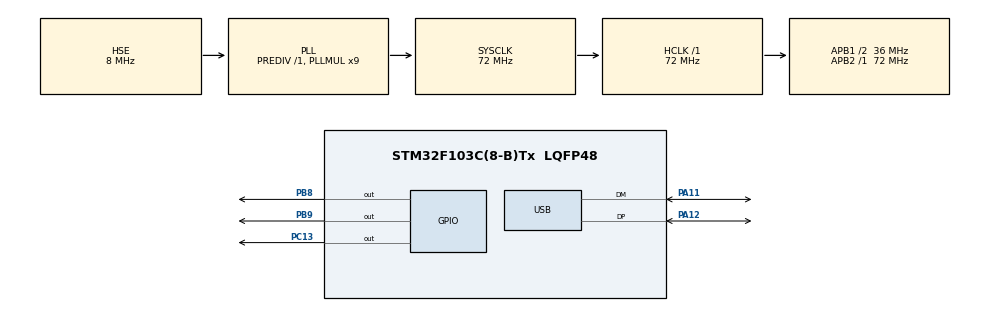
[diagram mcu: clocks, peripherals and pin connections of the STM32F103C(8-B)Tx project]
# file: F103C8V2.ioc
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FREERTOS.Tasks01=defaultTask,0,128,StartDefaultTask,Default,NULL,Dynamic,NULL,NULL;scanTask,0,128,StartScanTask,Default,NULL,Dynamic,NULL,NULL
IWDG.Prescaler=IWDG_PRESCALER_16
Mcu.Family=STM32F1
Mcu.Name=STM32F103C(8-B)Tx
Mcu.Package=LQFP48
NVIC.PriorityGroup=NVIC_PRIORITYGROUP_4
NVIC.TIM1_UP_IRQn=true\:0\:0\:false\:false\:true\:false\:false
NVIC.TimeBase=TIM1_UP_IRQn
NVIC.TimeBaseIP=TIM1
NVIC.USB_LP_CAN1_RX0_IRQn=true\:5\:0\:false\:false\:true\:true\:false
PA11.Mode=Device
PA11.Signal=USB_DM
PA12.Mode=Device
PA12.Signal=USB_DP
PA13.Mode=Serial_Wire
PA13.Signal=SYS_JTMS-SWDIO
PA14.Mode=Serial_Wire
PA14.Signal=SYS_JTCK-SWCLK
PB8.GPIO_Speed=GPIO_SPEED_FREQ_LOW
PB8.Signal=GPIO_Output
PB9.GPIO_Speed=GPIO_SPEED_FREQ_LOW
PB9.Signal=GPIO_Output
PC13-TAMPER-RTC.GPIO_Speed=GPIO_SPEED_FREQ_LOW
PC13-TAMPER-RTC.PinState=GPIO_PIN_SET
PC13-TAMPER-RTC.Signal=GPIO_Output
PC14-OSC32_IN.Mode=LSE-External-Oscillator
PC14-OSC32_IN.Signal=RCC_OSC32_IN
PC15-OSC32_OUT.Mode=LSE-External-Oscillator
PC15-OSC32_OUT.Signal=RCC_OSC32_OUT
PD0-OSC_IN.Mode=HSE-External-Oscillator
PD0-OSC_IN.Signal=RCC_OSC_IN
PD1-OSC_OUT.Mode=HSE-External-Oscillator
PD1-OSC_OUT.Signal=RCC_OSC_OUT
ProjectManager.HeapSize=0x200
ProjectManager.StackSize=0x400
ProjectManager.TargetToolchain=EWARM V7
RCC.AHBFreq_Value=72000000
RCC.APB1CLKDivider=RCC_HCLK_DIV2
RCC.APB1Freq_Value=36000000
RCC.APB1TimFreq_Value=72000000
RCC.APB2Freq_Value=72000000
RCC.APB2TimFreq_Value=72000000
RCC.HCLKFreq_Value=72000000
RCC.PLLMUL=RCC_PLL_MUL9
RCC.SYSCLKFreq_VALUE=72000000
RCC.SYSCLKSource=RCC_SYSCLKSOURCE_PLLCLK
RCC.USBFreq_Value=48000000
RCC.USBPrescaler=RCC_USBCLKSOURCE_PLL_DIV1_5
TIM4.AutoReloadPreload=TIM_AUTORELOAD_PRELOAD_DISABLE
TIM4.CounterMode=TIM_COUNTERMODE_UP
TIM4.Period=65535
TIM4.Prescaler=71
USB_DEVICE.CLASS_NAME_FS=CDC
USB_DEVICE.VirtualMode=Cdc
USB_DEVICE.VirtualModeFS=Cdc_FS
VP_FREERTOS_VS_ENABLE.Mode=Enabled
VP_IWDG_VS_IWDG.Mode=IWDG_Activate
VP_SYS_VS_tim1.Mode=TIM1
VP_TIM4_VS_ClockSourceINT.Mode=Internal
VP_USB_DEVICE_VS_USB_DEVICE_CDC_FS.Mode=CDC_FS
board=custom

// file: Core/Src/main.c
/**
  ******************************************************************************
  * @file           : main.c
  * @brief          : Main program body
  ******************************************************************************
  * This notice applies to any and all portions of this file
  * that are not between comment pairs USER CODE BEGIN and
  * USER CODE END. Other portions of this file, whether
  * inserted by the user or by software development tools
  * are owned by their respective copyright owners.
  *
  * Copyright (c) 2019 STMicroelectronics International N.V.
  * All rights reserved.
  *
  * Redistribution and use in source and binary forms, with or without
  * modification, are permitted, provided that the following conditions are met:
  *
  * 1. Redistribution of source code must retain the above copyright notice,
  *    this list of conditions and the following disclaimer.
  * 2. Redistributions in binary form must reproduce the above copyright notice,
  *    this list of conditions and the following disclaimer in the documentation
  *    and/or other materials provided with the distribution.
  * 3. Neither the name of STMicroelectronics nor the names of other
  *    contributors to this software may be used to endorse or promote products
  *    derived from this software without specific written permission.
  * 4. This software, including modifications and/or derivative works of this
  *    software, must execute solely and exclusively on microcontroller or
  *    microprocessor devices manufactured by or for STMicroelectronics.
  * 5. Redistribution and use of this software other than as permitted under
  *    this license is void and will automatically terminate your rights under
  *    this license.
  *
  * THIS SOFTWARE IS PROVIDED BY STMICROELECTRONICS AND CONTRIBUTORS "AS IS"
  * AND ANY EXPRESS, IMPLIED OR STATUTORY WARRANTIES, INCLUDING, BUT NOT
  * LIMITED TO, THE IMPLIED WARRANTIES OF MERCHANTABILITY, FITNESS FOR A
  * PARTICULAR PURPOSE AND NON-INFRINGEMENT OF THIRD PARTY INTELLECTUAL PROPERTY
  * RIGHTS ARE DISCLAIMED TO THE FULLEST EXTENT PERMITTED BY LAW. IN NO EVENT
  * SHALL STMICROELECTRONICS OR CONTRIBUTORS BE LIABLE FOR ANY DIRECT, INDIRECT,
  * INCIDENTAL, SPECIAL, EXEMPLARY, OR CONSEQUENTIAL DAMAGES (INCLUDING, BUT NOT
  * LIMITED TO, PROCUREMENT OF SUBSTITUTE GOODS OR SERVICES; LOSS OF USE, DATA,
  * OR PROFITS; OR BUSINESS INTERRUPTION) HOWEVER CAUSED AND ON ANY THEORY OF
  * LIABILITY, WHETHER IN CONTRACT, STRICT LIABILITY, OR TORT (INCLUDING
  * NEGLIGENCE OR OTHERWISE) ARISING IN ANY WAY OUT OF THE USE OF THIS SOFTWARE,
  * EVEN IF ADVISED OF THE POSSIBILITY OF SUCH DAMAGE.
  *
  ******************************************************************************
  */
#include "main.h"
#include "stm32f1xx_hal.h"
#include "cmsis_os.h"
#include "iwdg.h"
#include "tim.h"
#include "usb_device.h"
#include "gpio.h"

/* USER CODE BEGIN PV */
/* Private variables ---------------------------------------------------------*/

/* USER CODE END PV */

void SystemClock_Config(void);
void MX_FREERTOS_Init(void);

/* USER CODE BEGIN PFP */
/* Private function prototypes -----------------------------------------------*/

/* USER CODE END PFP */

int main(void)
{

  /* MCU Configuration----------------------------------------------------------*/

  /* Reset of all peripherals, Initializes the Flash interface and the Systick. */
  HAL_Init();

  /* Configure the system clock */
  SystemClock_Config();

  /* Initialize all configured peripherals */
  MX_GPIO_Init();
  MX_IWDG_Init();
  MX_TIM4_Init();
  /* USER CODE BEGIN 2 */
  HAL_TIM_Base_Start(&htim4);
  /* USER CODE END 2 */

  /* Call init function for freertos objects (in freertos.c) */
  MX_FREERTOS_Init();

  /* Start scheduler */
  osKernelStart();

  /* We should never get here as control is now taken by the scheduler */

  /* Infinite loop */
  while (1)
  {

  }

}

void SystemClock_Config(void)
{

  RCC_OscInitTypeDef RCC_OscInitStruct;
  RCC_ClkInitTypeDef RCC_ClkInitStruct;
  RCC_PeriphCLKInitTypeDef PeriphClkInit;

    /**Initializes the CPU, AHB and APB busses clocks
    */
  RCC_OscInitStruct.OscillatorType = RCC_OSCILLATORTYPE_LSI|RCC_OSCILLATORTYPE_HSE;
  RCC_OscInitStruct.HSEState = RCC_HSE_ON;
  RCC_OscInitStruct.HSEPredivValue = RCC_HSE_PREDIV_DIV1;
  RCC_OscInitStruct.HSIState = RCC_HSI_ON;
  RCC_OscInitStruct.LSIState = RCC_LSI_ON;
  RCC_OscInitStruct.PLL.PLLState = RCC_PLL_ON;
  RCC_OscInitStruct.PLL.PLLSource = RCC_PLLSOURCE_HSE;
  RCC_OscInitStruct.PLL.PLLMUL = RCC_PLL_MUL9;
  if (HAL_RCC_OscConfig(&RCC_OscInitStruct) != HAL_OK)
  {
    _Error_Handler(__FILE__, __LINE__);
  }

    /**Initializes the CPU, AHB and APB busses clocks
    */
  RCC_ClkInitStruct.ClockType = RCC_CLOCKTYPE_HCLK|RCC_CLOCKTYPE_SYSCLK
                              |RCC_CLOCKTYPE_PCLK1|RCC_CLOCKTYPE_PCLK2;
  RCC_ClkInitStruct.SYSCLKSource = RCC_SYSCLKSOURCE_PLLCLK;
  RCC_ClkInitStruct.AHBCLKDivider = RCC_SYSCLK_DIV1;
  RCC_ClkInitStruct.APB1CLKDivider = RCC_HCLK_DIV2;
  RCC_ClkInitStruct.APB2CLKDivider = RCC_HCLK_DIV1;

  if (HAL_RCC_ClockConfig(&RCC_ClkInitStruct, FLASH_LATENCY_2) != HAL_OK)
  {
    _Error_Handler(__FILE__, __LINE__);
  }

  PeriphClkInit.PeriphClockSelection = RCC_PERIPHCLK_USB;
  PeriphClkInit.UsbClockSelection = RCC_USBCLKSOURCE_PLL_DIV1_5;
  if (HAL_RCCEx_PeriphCLKConfig(&PeriphClkInit) != HAL_OK)
  {
    _Error_Handler(__FILE__, __LINE__);
  }

    /**Configure the Systick interrupt time
    */
  HAL_SYSTICK_Config(HAL_RCC_GetHCLKFreq()/1000);

    /**Configure the Systick
    */
  HAL_SYSTICK_CLKSourceConfig(SYSTICK_CLKSOURCE_HCLK);

  /* SysTick_IRQn interrupt configuration */
  HAL_NVIC_SetPriority(SysTick_IRQn, 15, 0);
}

void HAL_TIM_PeriodElapsedCallback(TIM_HandleTypeDef *htim)
{
  if (htim->Instance == TIM1) {
    HAL_IncTick();
  }
}

void _Error_Handler(char *file, int line)
{
  while(1)
  {
  }
}

/************************ (C) COPYRIGHT STMicroelectronics *****END OF FILE****/

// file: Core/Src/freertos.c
/* USER CODE BEGIN Header */
/**
  ******************************************************************************
  * File Name          : freertos.c
  * Description        : Code for freertos applications
  ******************************************************************************
  * This notice applies to any and all portions of this file
  * that are not between comment pairs USER CODE BEGIN and
  * USER CODE END. Other portions of this file, whether
  * inserted by the user or by software development tools
  * are owned by their respective copyright owners.
  *
  * Copyright (c) 2019 STMicroelectronics International N.V.
  * All rights reserved.
  *
  * Redistribution and use in source and binary forms, with or without
  * modification, are permitted, provided that the following conditions are met:
  *
  * 1. Redistribution of source code must retain the above copyright notice,
  *    this list of conditions and the following disclaimer.
  * 2. Redistributions in binary form must reproduce the above copyright notice,
  *    this list of conditions and the following disclaimer in the documentation
  *    and/or other materials provided with the distribution.
  * 3. Neither the name of STMicroelectronics nor the names of other
  *    contributors to this software may be used to endorse or promote products
  *    derived from this software without specific written permission.
  * 4. This software, including modifications and/or derivative works of this
  *    software, must execute solely and exclusively on microcontroller or
  *    microprocessor devices manufactured by or for STMicroelectronics.
  * 5. Redistribution and use of this software other than as permitted under
  *    this license is void and will automatically terminate your rights under
  *    this license.
  *
  * THIS SOFTWARE IS PROVIDED BY STMICROELECTRONICS AND CONTRIBUTORS "AS IS"
  * AND ANY EXPRESS, IMPLIED OR STATUTORY WARRANTIES, INCLUDING, BUT NOT
  * LIMITED TO, THE IMPLIED WARRANTIES OF MERCHANTABILITY, FITNESS FOR A
  * PARTICULAR PURPOSE AND NON-INFRINGEMENT OF THIRD PARTY INTELLECTUAL PROPERTY
  * RIGHTS ARE DISCLAIMED TO THE FULLEST EXTENT PERMITTED BY LAW. IN NO EVENT
  * SHALL STMICROELECTRONICS OR CONTRIBUTORS BE LIABLE FOR ANY DIRECT, INDIRECT,
  * INCIDENTAL, SPECIAL, EXEMPLARY, OR CONSEQUENTIAL DAMAGES (INCLUDING, BUT NOT
  * LIMITED TO, PROCUREMENT OF SUBSTITUTE GOODS OR SERVICES; LOSS OF USE, DATA,
  * OR PROFITS; OR BUSINESS INTERRUPTION) HOWEVER CAUSED AND ON ANY THEORY OF
  * LIABILITY, WHETHER IN CONTRACT, STRICT LIABILITY, OR TORT (INCLUDING
  * NEGLIGENCE OR OTHERWISE) ARISING IN ANY WAY OUT OF THE USE OF THIS SOFTWARE,
  * EVEN IF ADVISED OF THE POSSIBILITY OF SUCH DAMAGE.
  *
  ******************************************************************************
  */
/* USER CODE END Header */

#include "FreeRTOS.h"
#include "task.h"
#include "main.h"
#include "cmsis_os.h"

/* USER CODE BEGIN Includes */
#include "stm32f1xx_hal.h"
#include "iwdg.h"
#include "tim.h"
#include "bsp_ds18b20.h"
#include "bsp_tm1638.h"
/* USER CODE END Includes */

/* USER CODE BEGIN PD */
#define LIMIT_HIGH 80
#define LIMIT_LOW  20

#define STEP_1     1
#define STEP_5     5

#define TEMP_L1    0.5
#define TEMP_L2    1

#define HEAT_ON  (GPIOB->BSRR = GPIO_PIN_8)
#define HEAT_OFF (GPIOB->BSRR = GPIO_PIN_8 << 16)

#define FAN_ON   (GPIOB->BSRR = GPIO_PIN_9)
#define FAN_OFF  (GPIOB->BSRR = GPIO_PIN_9 << 16)
/* USER CODE END PD */

/* USER CODE BEGIN Variables */
static float ds18b20_temp = 0;
/* USER CODE END Variables */
osThreadId defaultTaskHandle;
osThreadId scanTaskHandle;

void StartDefaultTask(void const * argument);
void StartScanTask(void const * argument);

extern void MX_USB_DEVICE_Init(void);
void MX_FREERTOS_Init(void); /* (MISRA C 2004 rule 8.1) */

void MX_FREERTOS_Init(void) {

  /* Create the thread(s) */
  /* definition and creation of defaultTask */
  osThreadDef(defaultTask, StartDefaultTask, osPriorityNormal, 0, 128);
  defaultTaskHandle = osThreadCreate(osThread(defaultTask), NULL);

  /* definition and creation of scanTask */
  osThreadDef(scanTask, StartScanTask, osPriorityNormal, 0, 128);
  scanTaskHandle = osThreadCreate(osThread(scanTask), NULL);

}

void StartDefaultTask(void const * argument)
{
  /* init code for USB_DEVICE */
  MX_USB_DEVICE_Init();

  /* USER CODE BEGIN StartDefaultTask */
  DS18B20_OBJ *ds18b20 = BSP_DS18B20_OBJ();
  /* Infinite loop */
  for(;;)
  {
    HAL_IWDG_Refresh(&hiwdg);
    HAL_GPIO_TogglePin(GPIOC, GPIO_PIN_13);
    ds18b20->Start();
    osDelay(750);
    ds18b20_temp = ds18b20->ReadTemp();
    osDelay(250);
  }
  /* USER CODE END StartDefaultTask */
}

void StartScanTask(void const * argument)
{
    /* USER CODE BEGIN StartScanTask */
    int func = 1;
    int sTemp = 25;
    TM1638_OBJ *tm1638 = BSP_TM1638_OBJ();
    TM1638_Keys tm1638_press = {0};

    tm1638->Init();
    tm1638->BrightSet(3);
    tm1638->LedSet(TM1638_LED1);
    /* Infinite loop */
    for(;;)
    {
        if (func != 2)
            tm1638->DisFloat(ds18b20_temp);

        if (func == 3)
        {
            if (ds18b20_temp <= sTemp - TEMP_L2)
            {
                HEAT_ON;
                FAN_OFF;
            }
            else if ((ds18b20_temp >= sTemp - TEMP_L1)&&(ds18b20_temp <= sTemp + TEMP_L1))
            {
                HEAT_OFF;
                FAN_OFF;
            }
            else if (ds18b20_temp >= sTemp + TEMP_L2)
            {
                HEAT_OFF;
                FAN_ON;
            }
        }

        osDelay(20);

        tm1638_press.uInt = tm1638->ReadKeys();
        if (tm1638_press.uInt)
        {
            osDelay(20);
            tm1638_press.uInt &= tm1638->ReadKeys();
            osDelay(200);
            tm1638_press.uInt ^= tm1638->ReadKeys();

            if (tm1638_press.uInt)
            {
                if (tm1638_press.Key.S1)
                {
                    func = 1;
                    tm1638->LedSet(TM1638_LED1);
                    HEAT_OFF;
                    FAN_OFF;
                }
                else if (tm1638_press.Key.S2)
                {
                    func = 2;
                    tm1638->LedSet(TM1638_LED2);
                    tm1638->DisInt(sTemp);
                    HEAT_OFF;
                    FAN_OFF;
                }
                else if (tm1638_press.Key.S3)
                {
                    func = 3;
                    tm1638->LedSet(TM1638_LED3);
                }
                else if (func == 2)
                {
                    if (tm1638_press.Key.S4)
                        continue;
                    else if (tm1638_press.Key.S5)
                        sTemp += STEP_1;
                    else if (tm1638_press.Key.S6)
                        sTemp -= STEP_1;
                    else if (tm1638_press.Key.S7)
                        sTemp += STEP_5;
                    else if (tm1638_press.Key.S8)
                        sTemp -= STEP_5;

                    if (sTemp < LIMIT_LOW)
                        sTemp = LIMIT_LOW;

                    if (sTemp > LIMIT_HIGH)
                        sTemp = LIMIT_HIGH;

                    tm1638->DisInt(sTemp);
                }
            }
        }
    }
    /* USER CODE END StartScanTask */
}

/************************ (C) COPYRIGHT STMicroelectronics *****END OF FILE****/
